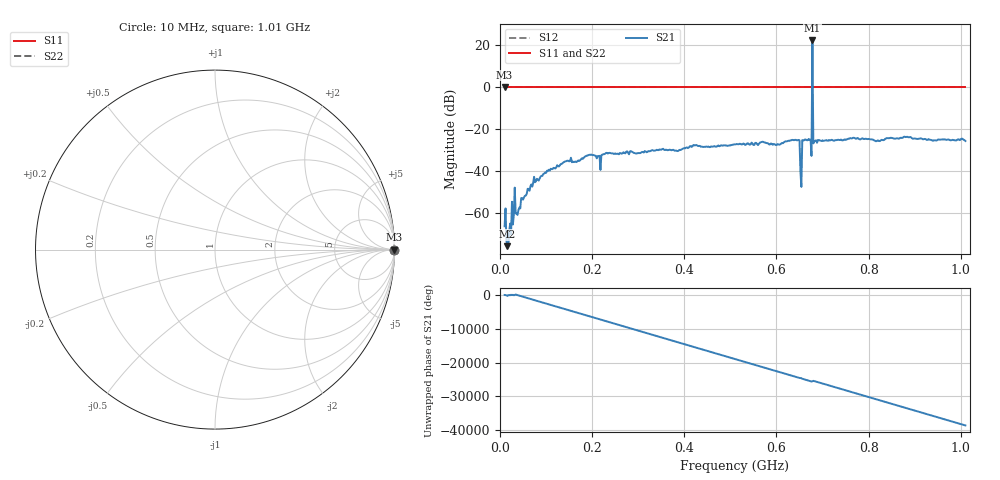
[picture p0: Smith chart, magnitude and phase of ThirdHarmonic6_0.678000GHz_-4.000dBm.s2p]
! 8/15/2025 10:35:22 PM
! C:\ANRITSUVNA\TEMP\TEMP.S2P
! CHANNEL.1
! TR.MEASUREMENT
! RAW.DATA
! RF.CORRECTION.OFF
! AVERAGING.OFF
! IF.BANDWIDTH: 5KHZ
! SWEEPTYPE:  FREQ.SWEEP(Linear)
! Reference Plane Port Info
! PORT:  PORT1  PORT2
! DISTANCE:  0  m  0  m
! TIME:  0  s  0  s
! PHASE.OFFSET:  0  deg.  0  deg.
! LOSS:  0  dB  0  dB
! REF.LOSS:  0  dB  0  dB
! REF.FREQ:  0  Hz  0  Hz
! Power Info
! POWER:  -20  dBm  -20  dBm
! EFF.POWER:  -20  dBm  -20  dBm
! SOURCE.ATTEN:  0  dB  0  dB
! TEST.ATTEN:  0  dB  0  dB
# GHZ S RI R 50.0
! FREQ.GHZ  S11RE  S11IM  S21RE  S21IM  S12RE  S12IM  S22RE  S22IM
!; PortSelection: Port_12
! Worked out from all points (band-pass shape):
!   501 points, 10 MHz to 1.01 GHz, reference 50 ohm
!   highest |S21| = 22.20 dB at 678 MHz (marker M1); lowest = -76.0 dB at 16 MHz (marker M2)
!   |S21| within 3 dB of the highest: 677.8911 MHz to 678.122 MHz (230.9 kHz wide, 0.0341 % of centre)
!   lowest |S11| = 0.0 dB at 10 MHz (marker M3)
!   |S11| at or under -10 dB: nowhere
!   |S22| runs from 0.0 to 0.0 dB; largest |S21 - S12| = 12
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0.01  1 0  -0.000419 0.000214  1 0  1 0
0.016  1 0  -4.73e-05 -0.00015  1 0  1 0
0.02  1 0  -0.000181 0.000301  1 0  1 0
0.03  1 0  0.000193 0.000881  1 0  1 0
0.04  1 0  0.00107 0.000417  1 0  1 0
0.076  1 0  0.00529 0.000432  1 0  1 0
0.142  1 0  -0.0156 -0.00605  1 0  1 0
0.178  1 0  -0.0194 -0.00397  1 0  1 0
0.344  1 0  0.03 -0.00777  1 0  1 0
0.51  1 0  -0.0392 0.0164  1 0  1 0
0.646  1 0  0.000392 0.0532  1 0  1 0
0.65  1 0  0.0153 -0.0508  1 0  1 0
0.654  1 0  -0.00342 -0.00229  1 0  1 0
0.656  1 0  0.0378 0.0384  1 0  1 0
0.66  1 0  -0.0222 -0.0485  1 0  1 0
0.672  1 0  -0.0277 0.0468  1 0  1 0
0.674  1 0  0.043 0.0343  1 0  1 0
0.678  1 0  11.87 4.999  1 0  1 0
0.682  1 0  0.013 0.0495  1 0  1 0
0.684  1 0  0.0515 -0.00461  1 0  1 0
0.844  1 0  0.0474 0.0363  1 0  1 0
1.01  1 0  -0.0505 -0.00801  1 0  1 0
